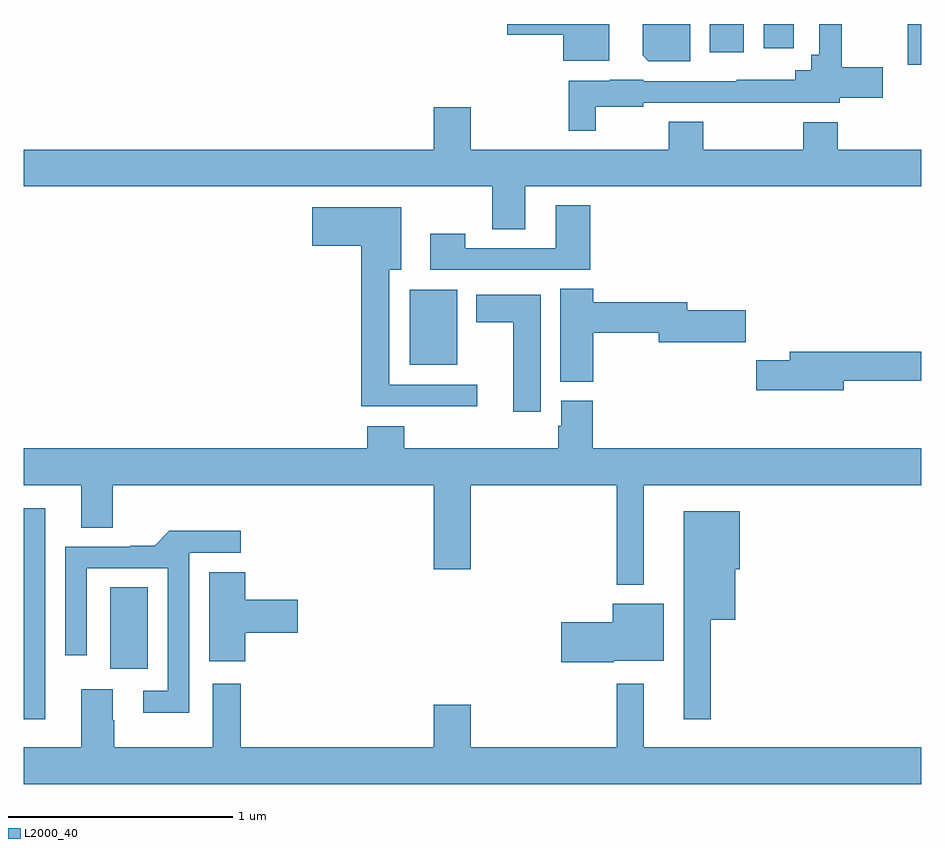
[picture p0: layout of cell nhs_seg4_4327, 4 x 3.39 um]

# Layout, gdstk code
import gdstk
lib = gdstk.Library(unit=1e-6, precision=1e-09)
def R(c, l, rs):  # rectangles x0, y0, x1, y1
    for r in rs: c.add(gdstk.rectangle(r[:2], r[2:], *l))
def P(c, l, *ps):  # polygons
    for p in ps: c.add(gdstk.Polygon(p, *l))
L2000_40 = (2000, 40)

nhs_seg4_4327 = lib.new_cell('nhs_seg4_4327')
R(nhs_seg4_4327, L2000_40, [(343,771.801,343.096,772.741), (343.385,772.026,343.552,772.388), (344.72,773.381,344.932,773.716), (346.94,774.719,347,774.9), (346.058,774.774,346.21,774.9), (346.298,774.792,346.433,774.9)])
P(nhs_seg4_4327, L2000_40, [(345.97,774.9),(345.758,774.9),(345.758,774.76),(345.784,774.734),(345.97,774.734)],
  [(345.61,774.9),(345.156,774.9),(345.156,774.851),(345.404,774.851),(345.404,774.737),(345.61,774.737)],
  [(345.55,774.53),(345.762,774.53),(345.762,774.549),(346.179,774.549),(346.179,774.548),(346.411,774.548),(346.411,774.549),(346.638,774.549),(346.638,774.572),(346.828,774.572),(346.828,774.707),(346.646,774.707),(346.646,774.9),(346.545,774.9),(346.545,774.762),(346.509,774.762),(346.509,774.694),(346.439,774.694),(346.439,774.652),(346.179,774.652),(346.179,774.645),(345.762,774.645),(345.762,774.652),(345.612,774.652),(345.612,774.646),(345.429,774.646),(345.429,774.425),(345.55,774.425)],
  [(345.235,774.176),(347,774.176),(347,774.34),(346.629,774.34),(346.629,774.463),(346.474,774.463),(346.474,774.34),(346.029,774.34),(346.029,774.464),(345.874,774.464),(345.874,774.34),(344.992,774.34),(344.992,774.529),(344.828,774.529),(344.828,774.34),(343,774.34),(343,774.176),(345.088,774.176),(345.088,773.986),(345.235,773.986)],
  [(345.524,774.091),(345.371,774.091),(345.371,773.901),(344.967,773.901),(344.967,773.965),(344.811,773.965),(344.811,773.805),(345.524,773.805)],
  [(345.022,773.292),(344.629,773.292),(344.629,773.804),(344.683,773.804),(344.683,774.082),(344.286,774.082),(344.286,773.912),(344.504,773.912),(344.504,773.195),(345.022,773.195)],
  [(345.539,773.524),(345.83,773.524),(345.83,773.482),(346.219,773.482),(346.219,773.624),(345.958,773.624),(345.958,773.66),(345.539,773.66),(345.539,773.72),(345.392,773.72),(345.392,773.305),(345.539,773.305)],
  [(345.304,773.692),(345.017,773.692),(345.017,773.57),(345.182,773.57),(345.182,773.172),(345.304,773.172)],
  [(346.654,773.31),(347,773.31),(347,773.438),(346.415,773.438),(346.415,773.402),(346.266,773.402),(346.266,773.267),(346.654,773.267)],
  [(344.531,773.107),(344.531,773.008),(343,773.008),(343,772.844),(343.256,772.844),(343.256,772.654),(343.396,772.654),(343.396,772.844),(344.828,772.844),(344.828,772.47),(344.992,772.47),(344.992,772.844),(345.642,772.844),(345.642,772.4),(345.763,772.4),(345.763,772.844),(347,772.844),(347,773.008),(345.536,773.008),(345.536,773.22),(345.395,773.22),(345.395,773.109),(345.383,773.109),(345.383,773.008),(344.696,773.008),(344.696,773.107)],
  [(346.063,772.244),(346.171,772.244),(346.171,772.47),(346.192,772.47),(346.192,772.729),(345.941,772.729),(345.941,771.801),(346.063,771.801)],
  [(343.737,772.542),(343.966,772.542),(343.966,772.64),(343.649,772.64),(343.583,772.574),(343.475,772.574),(343.475,772.569),(343.185,772.569),(343.185,772.086),(343.281,772.086),(343.281,772.473),(343.641,772.473),(343.641,771.927),(343.533,771.927),(343.533,771.83),(343.737,771.83)],
  [(343.988,772.187),(344.221,772.187),(344.221,772.334),(343.988,772.334),(343.988,772.457),(343.826,772.457),(343.826,772.059),(343.988,772.059)],
  [(345.63,772.061),(345.853,772.061),(345.853,772.315),(345.626,772.315),(345.626,772.232),(345.396,772.232),(345.396,772.054),(345.63,772.054)],
  [(347,771.676),(345.763,771.676),(345.763,771.958),(345.642,771.958),(345.642,771.676),(344.992,771.676),(344.992,771.865),(344.828,771.865),(344.828,771.676),(343.967,771.676),(343.967,771.958),(343.841,771.958),(343.841,771.676),(343.404,771.676),(343.404,771.797),(343.396,771.797),(343.396,771.934),(343.256,771.934),(343.256,771.676),(343,771.676),(343,771.512),(347,771.512)])

lib.write_gds('nhs_seg4_4327.gds')
